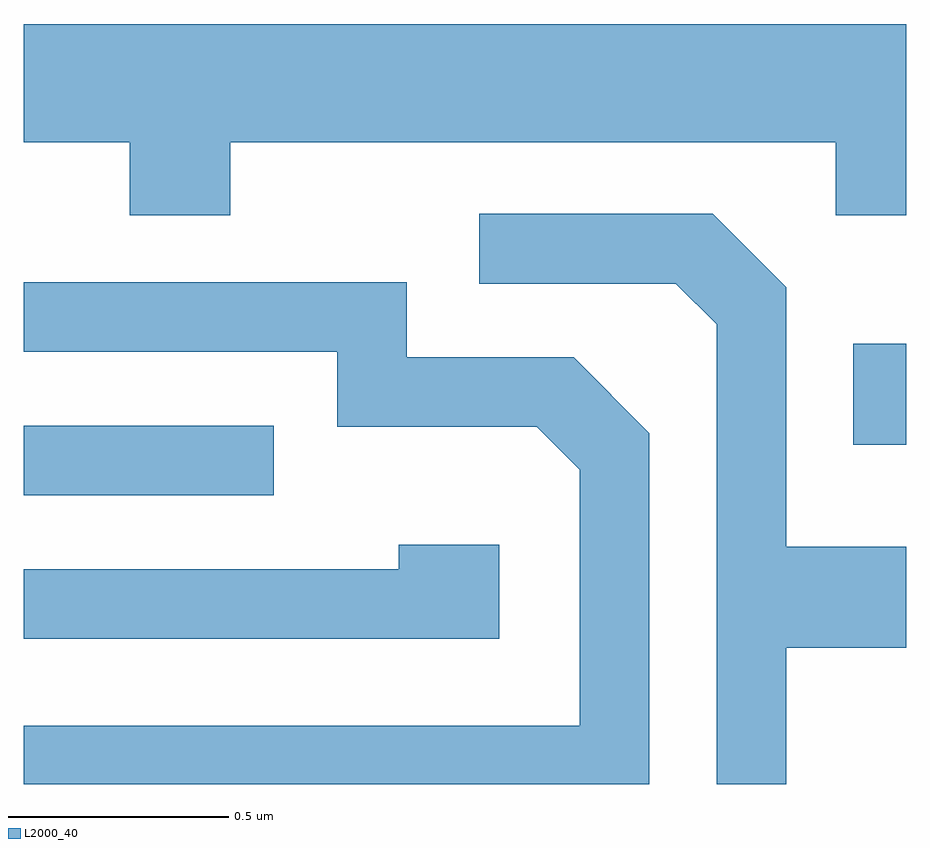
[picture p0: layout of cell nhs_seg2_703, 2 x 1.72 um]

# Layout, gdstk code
import gdstk
lib = gdstk.Library(unit=1e-6, precision=1e-09)
def R(c, l, rs):  # rectangles x0, y0, x1, y1
    for r in rs: c.add(gdstk.rectangle(r[:2], r[2:], *l))
def P(c, l, *ps):  # polygons
    for p in ps: c.add(gdstk.Polygon(p, *l))
L2000_40 = (2000, 40)

nhs_seg2_703 = lib.new_cell('nhs_seg2_703')
R(nhs_seg2_703, L2000_40, [(190.611,996.456,191.178,996.614), (192.491,996.571,192.611,996.799)])
P(nhs_seg2_703, L2000_40, [(191.079,997.256),(192.451,997.256),(192.451,997.091),(192.611,997.091),(192.611,997.524),(190.611,997.524),(190.611,997.256),(190.851,997.256),(190.851,997.091),(191.079,997.091)],
  [(192.339,996.111),(192.611,996.111),(192.611,996.339),(192.339,996.339),(192.339,996.927),(192.172,997.094),(191.643,997.094),(191.643,996.936),(192.089,996.936),(192.181,996.844),(192.181,995.802),(192.339,995.802)],
  [(192.029,996.597),(191.857,996.769),(191.479,996.769),(191.479,996.939),(190.611,996.939),(190.611,996.781),(191.321,996.781),(191.321,996.611),(191.774,996.611),(191.871,996.514),(191.871,995.934),(190.611,995.934),(190.611,995.802),(192.029,995.802)],
  [(191.689,996.344),(191.461,996.344),(191.461,996.289),(190.611,996.289),(190.611,996.131),(191.689,996.131)])

lib.write_gds('nhs_seg2_703.gds')
